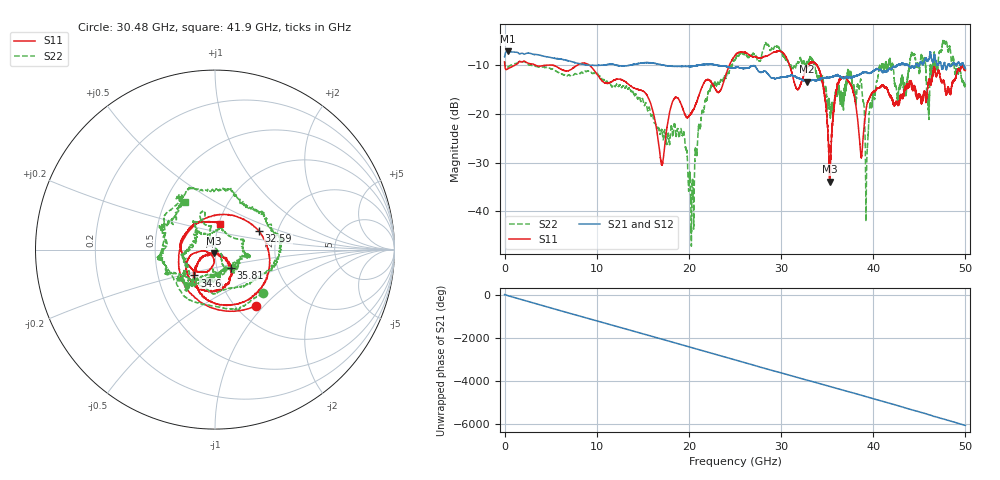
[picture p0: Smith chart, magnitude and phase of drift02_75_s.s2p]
!Created with skrf (http://scikit-rf.org).
# Hz S RI R 50.0
!freq ReS11 ImS11 ReS21 ImS21 ReS12 ImS12 ReS22 ImS22
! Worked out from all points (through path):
!   10001 points, 300 kHz to 50 GHz, reference 50 ohm
!   highest |S21| = -7.32 dB at 325.3 MHz (marker M1); lowest = -13.5 dB at 32.76 GHz (marker M2)
!   group delay of S21, straight-line fit = 335 ps
!   lowest |S11| = -33.9 dB at 35.26 GHz (marker M3), VSWR 1.04, Z = 49.4 - j1.92 ohm
!   |S11| at or under -10 dB: 3.227 GHz to 8.007 GHz (4.779 GHz wide, 85.1 % of centre); 9.105 GHz to 24.41 GHz (15.31 GHz wide, 91.3 % of centre); 33.84 GHz to end of sweep (the widest 3 of 7)
!   |S22| runs from -47.1 to -5.1 dB; largest |S21 - S12| = 0.015
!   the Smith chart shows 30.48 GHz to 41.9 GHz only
!   S11 on the Smith chart (normalised r, x): 30.48 GHz: 1.22, -0.90; 32.59 GHz: 1.60, +0.35; 34.6 GHz: 0.76, -0.23; 35.81 GHz: 1.16, -0.24; 41.9 GHz: 1.02, +0.30
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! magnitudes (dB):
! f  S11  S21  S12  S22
! 300 kHz  -9.4  -8.4  -8.4  -9.4
! 325.3 MHz  -10.9  -7.3  -7.3  -10.6
! 8.335 GHz  -9.7  -9.9  -9.9  -11.6
! 16.67 GHz  -25.5  -9.9  -9.9  -22.8
! 19.3 GHz  -18.8  -10.4  -10.4  -24.4
! 20.37 GHz  -19.6  -10.3  -10.3  -34.4
! 21.94 GHz  -13.1  -9.9  -9.9  -17.2
! 25 GHz  -8.1  -10.6  -10.6  -9.0
! 30.48 GHz  -8.2  -12.5  -12.4  -8.9
! 32.59 GHz  -11.5  -13.2  -13.3  -10.7
! 32.76 GHz  -10.8  -13.5  -13.5  -9.4
! 33.34 GHz  -9.6  -13.1  -13.2  -9.0
! 34.6 GHz  -14.7  -12.8  -12.7  -13.6
! 35.26 GHz  -33.9  -12.6  -12.6  -18.3
! 35.81 GHz  -17.5  -12.3  -12.3  -17.0
! 37.31 GHz  -13.5  -12.5  -12.5  -11.5
! 38.54 GHz  -25.9  -12.1  -12.0  -14.3
! 39.32 GHz  -18.1  -11.6  -11.6  -28.8
! 41.67 GHz  -15.7  -10.9  -11.1  -9.7
! 41.9 GHz  -16.7  -10.9  -10.9  -10.1
! 47.77 GHz  -14.5  -9.8  -9.8  -5.4
! 50 GHz  -11.1  -10.8  -10.8  -14.0
